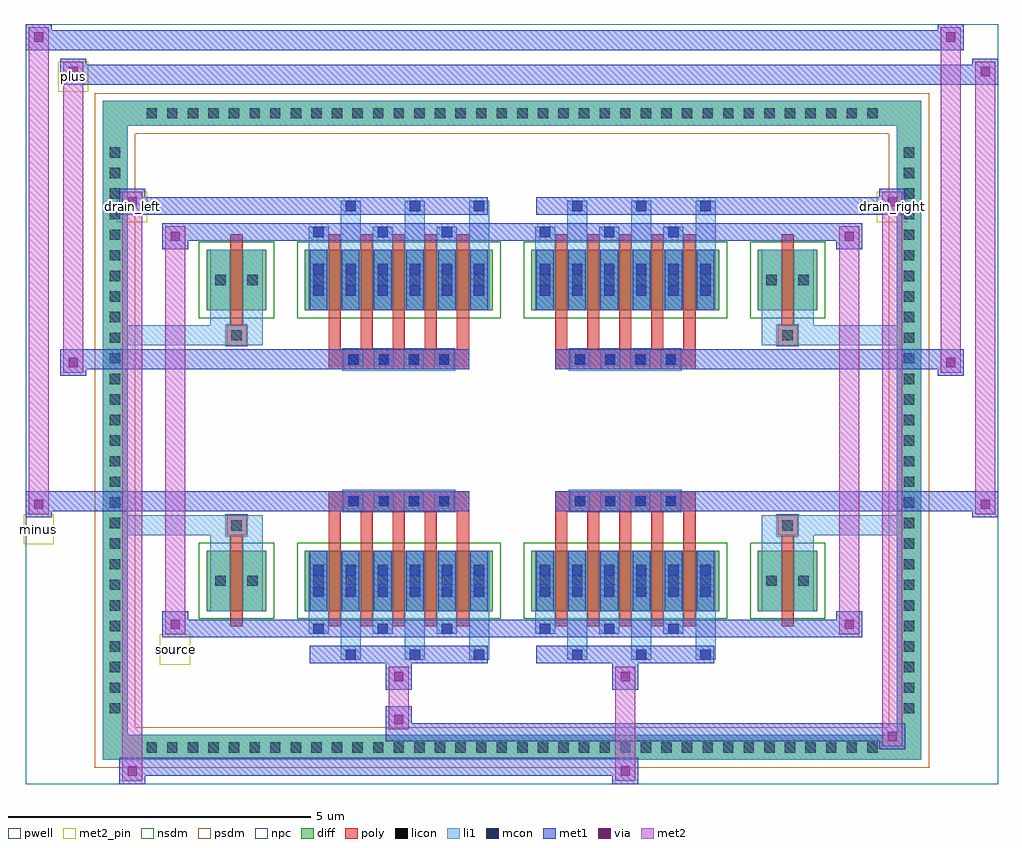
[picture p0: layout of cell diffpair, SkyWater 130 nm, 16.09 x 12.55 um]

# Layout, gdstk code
import gdstk
lib = gdstk.Library(unit=1e-6, precision=5e-09)
def R(c, l, rs):  # rectangles x0, y0, x1, y1
    for r in rs: c.add(gdstk.rectangle(r[:2], r[2:], *l))
def A(c, l, x, y, w, h, nx, ny, dx, dy):  # array of equal rectangles
    R(c, l, [(x+i*dx, y+j*dy, x+i*dx+w, y+j*dy+h) for i in range(nx) for j in range(ny)])
def P(c, l, *ps):  # polygons
    for p in ps: c.add(gdstk.Polygon(p, *l))
pwell = (64, 44)
diff = (65, 20)
poly = (66, 20)
licon = (66, 44)
li1 = (67, 20)
mcon = (67, 44)
met1 = (68, 20)
via = (68, 44)
met2_pin = (69, 16)
met2 = (69, 20)
nsdm = (93, 44)
psdm = (94, 20)
npc = (95, 20)

diffpair = lib.new_cell('diffpair')
R(diffpair, pwell, [(-8.03,-5.84,8.03,6.71), (-5.35,-4.03,-0.01,-0.805), (0.01,-4.03,5.35,-0.805), (-5.35,0.805,-0.01,4.03), (0.01,0.805,5.35,4.03)])
A(diffpair, diff, -6.155, -5.44, 0.41, 0.41, 36, 2, 0.34, 10.47)
A(diffpair, diff, -6.76, -4.795, 0.41, 0.41, 1, 28, 0, 0.34)
A(diffpair, diff, 6.35, -4.795, 0.41, 0.41, 1, 28, 0, 0.34)
R(diffpair, diff, [(-6.155,-5.44,6.155,-5.03), (-6.76,-4.795,-6.35,4.795), (6.35,-4.795,6.76,4.795), (-5.04,-2.985,-4.06,-1.985), (-3.42,-2.985,-0.32,-1.985), (0.32,-2.985,3.42,-1.985), (4.06,-2.985,5.04,-1.985), (-5.04,1.985,-4.06,2.985), (-3.42,1.985,-0.32,2.985), (0.32,1.985,3.42,2.985), (4.06,1.985,5.04,2.985), (-6.155,5.03,6.155,5.44)])
P(diffpair, diff, [(6.76,5.44),(-6.76,5.44),(-6.76,-5.03),(-6.35,-5.03),(-6.35,5.03),(6.35,5.03),(6.35,-5.03),(-6.35,-5.03),(-6.76,-5.03),(-6.76,-5.44),(6.76,-5.44)])
A(diffpair, poly, -3.03, -3.235, 0.2, 1.5, 5, 2, 0.53, 4.97)
A(diffpair, poly, 0.71, -3.235, 0.2, 1.5, 5, 2, 0.53, 4.97)
A(diffpair, poly, -3.03, -1.735, 0.2, 0.4, 5, 2, 0.53, 3.07)
A(diffpair, poly, 0.71, -1.735, 0.2, 0.4, 5, 2, 0.53, 3.07)
A(diffpair, poly, -2.785, -1.335, 0.33, 0.33, 4, 2, 0.5, 2.34)
A(diffpair, poly, 0.955, -1.335, 0.33, 0.33, 4, 2, 0.5, 2.34)
R(diffpair, poly, [(-4.65,-3.235,-4.45,-1.735), (4.45,-3.235,4.65,-1.735), (-4.715,-1.735,-4.385,-1.405), (-4.715,-1.735,-4.385,-1.405), (4.385,-1.735,4.715,-1.405), (4.385,-1.735,4.715,-1.405), (-3.03,-1.335,-0.71,-1.005), (0.71,-1.335,3.03,-1.005), (-3.03,1.005,-0.71,1.335), (0.71,1.005,3.03,1.335), (-4.715,1.405,-4.385,1.735), (-4.715,1.405,-4.385,1.735), (4.385,1.405,4.715,1.735), (4.385,1.405,4.715,1.735), (-4.65,1.735,-4.45,3.235), (4.45,1.735,4.65,3.235)])
A(diffpair, licon, -6.035, -5.32, 0.17, 0.17, 36, 2, 0.34, 10.47)
A(diffpair, licon, -6.64, -4.675, 0.17, 0.17, 1, 28, 0, 0.34)
A(diffpair, licon, 6.47, -4.675, 0.17, 0.17, 1, 28, 0, 0.34)
A(diffpair, licon, -3.28, -2.57, 0.17, 0.17, 6, 2, 0.53, 4.97)
A(diffpair, licon, 0.46, -2.57, 0.17, 0.17, 6, 2, 0.53, 4.97)
A(diffpair, licon, -2.705, -1.255, 0.17, 0.17, 4, 2, 0.5, 2.34)
A(diffpair, licon, 1.035, -1.255, 0.17, 0.17, 4, 2, 0.5, 2.34)
R(diffpair, licon, [(-4.9,-2.57,-4.73,-2.4), (-4.37,-2.57,-4.2,-2.4), (4.2,-2.57,4.37,-2.4), (4.73,-2.57,4.9,-2.4), (-4.635,-1.655,-4.465,-1.485), (4.465,-1.655,4.635,-1.485), (-4.635,1.485,-4.465,1.655), (4.465,1.485,4.635,1.655), (-4.9,2.4,-4.73,2.57), (-4.37,2.4,-4.2,2.57), (4.2,2.4,4.37,2.57), (4.73,2.4,4.9,2.57)])
A(diffpair, li1, -6.115, -5.4, 0.33, 0.33, 36, 2, 0.34, 10.47)
A(diffpair, li1, -6.72, -4.755, 0.33, 0.33, 1, 28, 0, 0.34)
A(diffpair, li1, 6.39, -4.755, 0.33, 0.33, 1, 28, 0, 0.34)
A(diffpair, li1, -2.83, -3.79, 0.33, 0.805, 3, 2, 1.06, 6.775)
A(diffpair, li1, -2.75, -3.79, 0.17, 0.17, 3, 2, 1.06, 7.41)
A(diffpair, li1, 0.91, -3.79, 0.33, 0.805, 3, 2, 1.06, 6.775)
A(diffpair, li1, 0.99, -3.79, 0.17, 0.17, 3, 2, 1.06, 7.41)
A(diffpair, li1, -3.36, -3.36, 0.33, 0.375, 3, 2, 1.06, 6.345)
A(diffpair, li1, -3.28, -3.36, 0.17, 0.17, 3, 2, 1.06, 6.55)
A(diffpair, li1, 0.38, -3.36, 0.33, 0.375, 3, 2, 1.06, 6.345)
A(diffpair, li1, 0.46, -3.36, 0.17, 0.17, 3, 2, 1.06, 6.55)
A(diffpair, li1, -3.36, -2.985, 0.33, 1, 6, 2, 0.53, 4.97)
A(diffpair, li1, 0.38, -2.985, 0.33, 1, 6, 2, 0.53, 4.97)
A(diffpair, li1, -3.28, -2.75, 0.17, 0.17, 6, 2, 0.53, 0.36)
A(diffpair, li1, -3.28, -2.75, 0.17, 0.53, 6, 2, 0.53, 4.97)
A(diffpair, li1, 0.46, -2.75, 0.17, 0.17, 6, 2, 0.53, 0.36)
A(diffpair, li1, 0.46, -2.75, 0.17, 0.53, 6, 2, 0.53, 4.97)
A(diffpair, li1, -3.36, -2.65, 0.33, 0.33, 6, 2, 0.53, 4.97)
A(diffpair, li1, 0.38, -2.65, 0.33, 0.33, 6, 2, 0.53, 4.97)
A(diffpair, li1, -2.785, -1.335, 0.33, 0.33, 4, 2, 0.5, 2.34)
A(diffpair, li1, 0.955, -1.335, 0.33, 0.33, 4, 2, 0.5, 2.34)
A(diffpair, li1, -3.28, 2.22, 0.17, 0.17, 6, 2, 0.53, 0.36)
A(diffpair, li1, 0.46, 2.22, 0.17, 0.17, 6, 2, 0.53, 0.36)
R(diffpair, li1, [(-6.76,-5.44,-6.35,-5.03), (-6.76,-5.44,-6.35,-5.03), (-6.35,-5.44,6.35,-5.03), (6.35,-5.44,6.76,-5.03), (6.35,-5.44,6.76,-5.03), (-6.76,-5.03,-6.35,5.03), (6.35,-5.03,6.76,5.03), (-4.98,-2.985,-4.65,-1.985), (-4.45,-2.985,-4.12,-1.985), (4.12,-2.985,4.45,-1.985), (4.65,-2.985,4.98,-1.985), (-4.98,-2.65,-4.65,-2.32), (-4.45,-2.65,-4.12,-2.32), (4.12,-2.65,4.45,-2.32), (4.65,-2.65,4.98,-2.32), (-4.98,-1.985,-4.65,-1.405), (-4.45,-1.985,-4.12,-1.405), (4.12,-1.985,4.45,-1.405), (4.65,-1.985,4.98,-1.405), (-6.76,-1.735,-4.715,-1.405), (-4.98,-1.735,-4.715,-1.405), (-4.715,-1.735,-4.385,-1.405), (-4.385,-1.735,-4.12,-1.405), (4.12,-1.735,4.385,-1.405), (4.385,-1.735,4.715,-1.405), (4.385,-1.735,6.76,-1.405), (4.715,-1.735,4.98,-1.405), (-6.76,1.405,-4.715,1.735), (-4.98,1.405,-4.715,1.735), (-4.98,1.405,-4.65,1.985), (-4.715,1.405,-4.385,1.735), (-4.45,1.405,-4.12,1.985), (-4.385,1.405,-4.12,1.735), (4.12,1.405,4.385,1.735), (4.12,1.405,4.45,1.985), (4.385,1.405,4.715,1.735), (4.385,1.405,6.76,1.735), (4.65,1.405,4.98,1.985), (4.715,1.405,4.98,1.735), (-4.98,1.985,-4.65,2.985), (-4.45,1.985,-4.12,2.985), (4.12,1.985,4.45,2.985), (4.65,1.985,4.98,2.985), (-4.98,2.32,-4.65,2.65), (-4.45,2.32,-4.12,2.65), (4.12,2.32,4.45,2.65), (4.65,2.32,4.98,2.65), (-6.76,5.03,-6.35,5.44), (-6.76,5.03,-6.35,5.44), (-6.35,5.03,6.35,5.44), (6.35,5.03,6.76,5.44), (6.35,5.03,6.76,5.44)])
A(diffpair, mcon, -2.75, -3.79, 0.17, 0.17, 3, 2, 1.06, 7.41)
A(diffpair, mcon, 0.99, -3.79, 0.17, 0.17, 3, 2, 1.06, 7.41)
A(diffpair, mcon, -3.28, -3.36, 0.17, 0.17, 3, 2, 1.06, 6.55)
A(diffpair, mcon, 0.46, -3.36, 0.17, 0.17, 3, 2, 1.06, 6.55)
A(diffpair, mcon, -3.28, -2.75, 0.17, 0.17, 6, 2, 0.53, 0.36)
A(diffpair, mcon, 0.46, -2.75, 0.17, 0.17, 6, 2, 0.53, 0.36)
A(diffpair, mcon, -2.705, -1.255, 0.17, 0.17, 4, 2, 0.5, 2.34)
A(diffpair, mcon, 1.035, -1.255, 0.17, 0.17, 4, 2, 0.5, 2.34)
A(diffpair, mcon, -3.28, 2.22, 0.17, 0.17, 6, 2, 0.53, 0.36)
A(diffpair, mcon, 0.46, 2.22, 0.17, 0.17, 6, 2, 0.53, 0.36)
A(diffpair, met1, -2.81, -3.85, 0.29, 0.29, 3, 2, 1.06, 7.41)
A(diffpair, met1, 0.93, -3.85, 0.29, 0.29, 3, 2, 1.06, 7.41)
A(diffpair, met1, -3.34, -3.42, 0.29, 0.29, 3, 2, 1.06, 6.55)
A(diffpair, met1, 0.4, -3.42, 0.29, 0.29, 3, 2, 1.06, 6.55)
A(diffpair, met1, -3.34, -2.985, 0.29, 1, 6, 2, 0.53, 4.97)
A(diffpair, met1, 0.4, -2.985, 0.29, 1, 6, 2, 0.53, 4.97)
A(diffpair, met1, -3.34, -2.81, 0.29, 0.29, 6, 2, 0.53, 0.36)
A(diffpair, met1, 0.4, -2.81, 0.29, 0.29, 6, 2, 0.53, 0.36)
A(diffpair, met1, -2.765, -1.315, 0.29, 0.29, 4, 2, 0.5, 2.34)
A(diffpair, met1, 0.975, -1.315, 0.29, 0.29, 4, 2, 0.5, 2.34)
A(diffpair, met1, -3.34, 2.16, 0.29, 0.29, 6, 2, 0.53, 0.36)
A(diffpair, met1, 0.4, 2.16, 0.29, 0.29, 6, 2, 0.53, 0.36)
R(diffpair, met1, [(-6.49,-5.84,-6.06,-5.41), (1.655,-5.84,2.085,-5.41), (-6.49,-5.7,2.085,-5.41), (6.06,-5.27,6.49,-4.84), (-2.085,-5.13,6.49,-4.84), (-2.085,-4.99,-1.655,-4.56), (-2.085,-4.28,-1.655,-3.85), (1.655,-4.28,2.085,-3.85), (-3.34,-3.85,-0.4,-3.56), (0.4,-3.85,3.34,-3.56), (-5.78,-3.42,-5.35,-2.99), (-5.78,-3.42,-3.34,-3.13), (-3.34,-3.42,-0.4,-3.13), (-0.4,-3.42,0.4,-3.13), (0.4,-3.42,3.34,-3.13), (3.34,-3.42,5.78,-3.13), (5.35,-3.42,5.78,-2.99), (-8.03,-1.435,-7.6,-1.005), (7.6,-1.435,8.03,-1.005), (-8.03,-1.335,-0.71,-1.005), (-3.03,-1.335,-0.71,-1.005), (0.71,-1.335,3.03,-1.005), (0.71,-1.335,8.03,-1.005), (-7.46,0.905,-7.03,1.335), (7.03,0.905,7.46,1.335), (-7.46,1.005,-3.03,1.335), (-3.03,1.005,-0.71,1.335), (0.71,1.005,3.03,1.335), (3.03,1.005,7.46,1.335), (-5.78,2.99,-5.35,3.42), (5.35,2.99,5.78,3.42), (-5.78,3.13,-3.34,3.42), (-3.34,3.13,-0.4,3.42), (-0.4,3.13,0.4,3.42), (0.4,3.13,3.34,3.42), (3.34,3.13,5.78,3.42), (-6.49,3.56,-6.06,3.99), (-6.49,3.56,-3.34,3.85), (-3.34,3.56,-0.4,3.85), (0.4,3.56,3.34,3.85), (3.34,3.56,6.49,3.85), (6.06,3.56,6.49,3.99), (-7.46,5.71,-7.03,6.14), (-7.46,5.71,-5.35,6.04), (-5.35,5.71,5.35,6.04), (5.35,5.71,8.03,6.04), (7.6,5.71,8.03,6.14), (-8.03,6.28,-7.6,6.71), (-8.03,6.28,-5.35,6.61), (-5.35,6.28,5.35,6.61), (5.35,6.28,7.46,6.61), (7.03,6.28,7.46,6.71)])
R(diffpair, via, [(-6.35,-5.7,-6.2,-5.55), (1.795,-5.7,1.945,-5.55), (6.2,-5.13,6.35,-4.98), (-1.945,-4.85,-1.795,-4.7), (-1.945,-4.14,-1.795,-3.99), (1.795,-4.14,1.945,-3.99), (-5.64,-3.28,-5.49,-3.13), (5.49,-3.28,5.64,-3.13), (-7.89,-1.295,-7.74,-1.145), (7.74,-1.295,7.89,-1.145), (-7.32,1.045,-7.17,1.195), (7.17,1.045,7.32,1.195), (-5.64,3.13,-5.49,3.28), (5.49,3.13,5.64,3.28), (-6.35,3.7,-6.2,3.85), (6.2,3.7,6.35,3.85), (-7.32,5.85,-7.17,6), (7.74,5.85,7.89,6), (-7.89,6.42,-7.74,6.57), (7.17,6.42,7.32,6.57)])
R(diffpair, met2_pin, [(-5.815,-3.87,-5.315,-3.37), (-8.065,-1.885,-7.565,-1.385), (-6.525,3.44,-6.025,3.94), (6.025,3.44,6.525,3.94), (-7.495,5.59,-6.995,6.09)])
R(diffpair, met2, [(-6.44,-5.79,-6.11,-5.46), (-6.44,-5.79,-6.11,3.94), (1.705,-5.79,2.035,-5.46), (1.705,-5.46,2.035,-4.23), (6.11,-5.22,6.44,-4.89), (6.11,-5.22,6.44,3.94), (-2.035,-4.94,-1.705,-4.61), (-2.035,-4.61,-1.705,-4.23), (-2.035,-4.23,-1.705,-3.9), (1.705,-4.23,2.035,-3.9), (-5.73,-3.37,-5.4,-3.04), (-5.73,-3.37,-5.4,3.37), (5.4,-3.37,5.73,-3.04), (5.4,-3.37,5.73,3.37), (-7.98,-1.385,-7.65,-1.055), (-7.98,-1.385,-7.65,6.66), (7.65,-1.385,7.98,-1.055), (7.65,-1.385,7.98,6.09), (-7.41,0.955,-7.08,1.285), (-7.41,0.955,-7.08,6.09), (7.08,0.955,7.41,1.285), (7.08,0.955,7.41,6.66), (-5.73,3.04,-5.4,3.37), (5.4,3.04,5.73,3.37), (-6.44,3.61,-6.11,3.94), (6.11,3.61,6.44,3.94), (-7.41,5.76,-7.08,6.09), (7.65,5.76,7.98,6.09), (-7.98,6.33,-7.65,6.66), (7.08,6.33,7.41,6.66)])
P(diffpair, met2, [(7.98,-1.385),(7.98,-1.385),(7.98,-1.055),(7.98,-1.055)],
  [(7.98,5.76),(7.98,5.76),(7.98,6.09),(7.98,6.09)],
  [(-7.65,-1.385),(-7.65,-1.385),(-7.65,-1.055),(-7.65,-1.055)],
  [(-7.65,6.33),(-7.65,6.33),(-7.65,6.66),(-7.65,6.66)],
  [(7.41,0.955),(7.41,0.955),(7.41,1.285),(7.41,1.285)],
  [(7.41,6.33),(7.41,6.33),(7.41,6.66),(7.41,6.66)],
  [(-7.08,0.955),(-7.08,0.955),(-7.08,1.285),(-7.08,1.285)],
  [(-7.08,5.76),(-7.08,5.76),(-7.08,6.09),(-7.08,6.09)],
  [(-6.11,-5.79),(-6.11,-5.79),(-6.11,-5.46),(-6.11,-5.46)],
  [(-6.11,3.61),(-6.11,3.61),(-6.11,3.94),(-6.11,3.94)],
  [(6.44,-5.22),(6.44,-5.22),(6.44,-4.89),(6.44,-4.89)],
  [(6.44,3.61),(6.44,3.61),(6.44,3.94),(6.44,3.94)],
  [(-5.4,-3.37),(-5.4,-3.37),(-5.4,-3.04),(-5.4,-3.04)],
  [(-5.4,3.04),(-5.4,3.04),(-5.4,3.37),(-5.4,3.37)],
  [(5.73,-3.37),(5.73,-3.37),(5.73,-3.04),(5.73,-3.04)],
  [(5.73,3.04),(5.73,3.04),(5.73,3.37),(5.73,3.37)])
R(diffpair, nsdm, [(-5.17,-3.115,-3.93,-1.855), (-3.55,-3.115,-0.19,-1.855), (0.19,-3.115,3.55,-1.855), (3.93,-3.115,5.17,-1.855), (-5.17,1.855,-3.93,3.115), (-3.55,1.855,-0.19,3.115), (0.19,1.855,3.55,3.115), (3.93,1.855,5.17,3.115)])
P(diffpair, psdm, [(6.89,5.57),(-6.89,5.57),(-6.89,-4.9),(-6.22,-4.9),(-6.22,4.9),(6.22,4.9),(6.22,-4.9),(-6.22,-4.9),(-6.89,-4.9),(-6.89,-5.57),(6.89,-5.57)])
A(diffpair, npc, -2.805, -1.355, 0.37, 0.37, 4, 2, 0.5, 2.34)
A(diffpair, npc, 0.935, -1.355, 0.37, 0.37, 4, 2, 0.5, 2.34)
R(diffpair, npc, [(-4.735,-1.755,-4.365,-1.385), (4.365,-1.755,4.735,-1.385), (-2.805,-1.355,-1.935,-0.985), (-2.805,-1.355,-1.935,-0.985), (-2.305,-1.355,-1.435,-0.985), (-2.305,-1.355,-1.435,-0.985), (-1.805,-1.355,-0.935,-0.985), (-1.805,-1.355,-0.935,-0.985), (0.935,-1.355,1.805,-0.985), (0.935,-1.355,1.805,-0.985), (1.435,-1.355,2.305,-0.985), (1.435,-1.355,2.305,-0.985), (1.935,-1.355,2.805,-0.985), (1.935,-1.355,2.805,-0.985), (-2.805,0.985,-1.935,1.355), (-2.805,0.985,-1.935,1.355), (-2.305,0.985,-1.435,1.355), (-2.305,0.985,-1.435,1.355), (-1.805,0.985,-0.935,1.355), (-1.805,0.985,-0.935,1.355), (0.935,0.985,1.805,1.355), (0.935,0.985,1.805,1.355), (1.435,0.985,2.305,1.355), (1.435,0.985,2.305,1.355), (1.935,0.985,2.805,1.355), (1.935,0.985,2.805,1.355), (-4.735,1.385,-4.365,1.755), (4.365,1.385,4.735,1.755)])
diffpair.add(gdstk.Label('minus', (-7.815,-1.635), layer=69, texttype=5))
diffpair.add(gdstk.Label('drain_right', (6.275,3.69), layer=69, texttype=5))
diffpair.add(gdstk.Label('drain_left', (-6.275,3.69), layer=69, texttype=5))
diffpair.add(gdstk.Label('source', (-5.565,-3.62), layer=69, texttype=5))
diffpair.add(gdstk.Label('plus', (-7.245,5.84), layer=69, texttype=5))

lib.write_gds('diffpair.gds')
